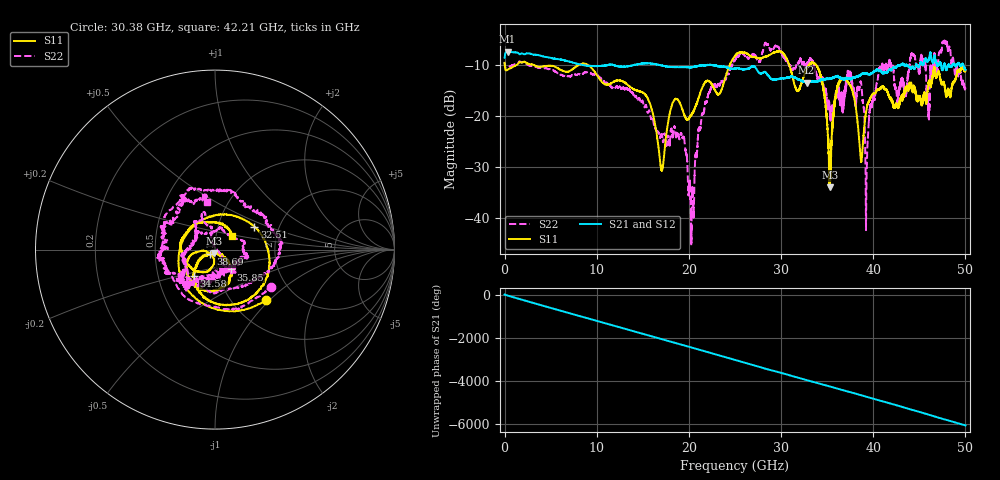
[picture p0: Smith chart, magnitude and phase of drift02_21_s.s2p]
!Created with skrf (http://scikit-rf.org).
# Hz S RI R 50.0
!freq ReS11 ImS11 ReS21 ImS21 ReS12 ImS12 ReS22 ImS22
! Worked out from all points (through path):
!   10001 points, 300 kHz to 50 GHz, reference 50 ohm
!   highest |S21| = -7.31 dB at 325.3 MHz (marker M1); lowest = -13.5 dB at 32.77 GHz (marker M2)
!   group delay of S21, straight-line fit = 335 ps
!   lowest |S11| = -34.1 dB at 35.28 GHz (marker M3), VSWR 1.04, Z = 49.5 - j1.9 ohm
!   |S11| at or under -10 dB: 3.238 GHz to 8.006 GHz (4.769 GHz wide, 84.8 % of centre); 9.106 GHz to 24.41 GHz (15.31 GHz wide, 91.3 % of centre); 33.83 GHz to end of sweep (the widest 3 of 10)
!   |S22| runs from -45.6 to -5.1 dB; largest |S21 - S12| = 0.015
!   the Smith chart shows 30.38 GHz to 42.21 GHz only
!   S11 on the Smith chart (normalised r, x): 30.38 GHz: 1.43, -0.95; 32.51 GHz: 1.50, +0.40; 34.58 GHz: 0.76, -0.23; 35.85 GHz: 1.16, -0.26; 38.69 GHz: 0.95, -0.04; 42.21 GHz: 1.20, +0.19
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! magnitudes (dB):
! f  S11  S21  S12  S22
! 300 kHz  -9.5  -8.5  -8.5  -9.4
! 325.3 MHz  -10.9  -7.3  -7.3  -10.6
! 8.335 GHz  -9.7  -9.9  -9.9  -11.6
! 16.67 GHz  -25.8  -9.9  -9.9  -23.2
! 19.32 GHz  -18.8  -10.4  -10.4  -24.4
! 20.35 GHz  -19.5  -10.4  -10.4  -35.2
! 21.94 GHz  -13.1  -10.0  -10.0  -17.1
! 25 GHz  -8.2  -10.6  -10.6  -9.0
! 30.38 GHz  -8.0  -12.5  -12.6  -8.5
! 32.51 GHz  -12.0  -13.2  -13.3  -9.6
! 32.77 GHz  -10.8  -13.5  -13.5  -9.9
! 33.34 GHz  -9.6  -13.2  -13.2  -9.0
! 34.58 GHz  -14.4  -12.8  -12.8  -13.4
! 35.28 GHz  -34.1  -12.6  -12.6  -18.7
! 35.85 GHz  -17.0  -12.3  -12.3  -16.3
! 37.47 GHz  -13.9  -12.7  -12.6  -11.9
! 38.69 GHz  -29.0  -11.8  -11.8  -13.5
! 39.31 GHz  -18.2  -11.6  -11.6  -28.6
! 41.67 GHz  -15.9  -10.9  -11.1  -9.8
! 42.21 GHz  -18.1  -10.4  -10.4  -11.4
! 47.77 GHz  -14.4  -9.9  -9.8  -5.4
! 50 GHz  -11.2  -10.9  -10.8  -14.4
